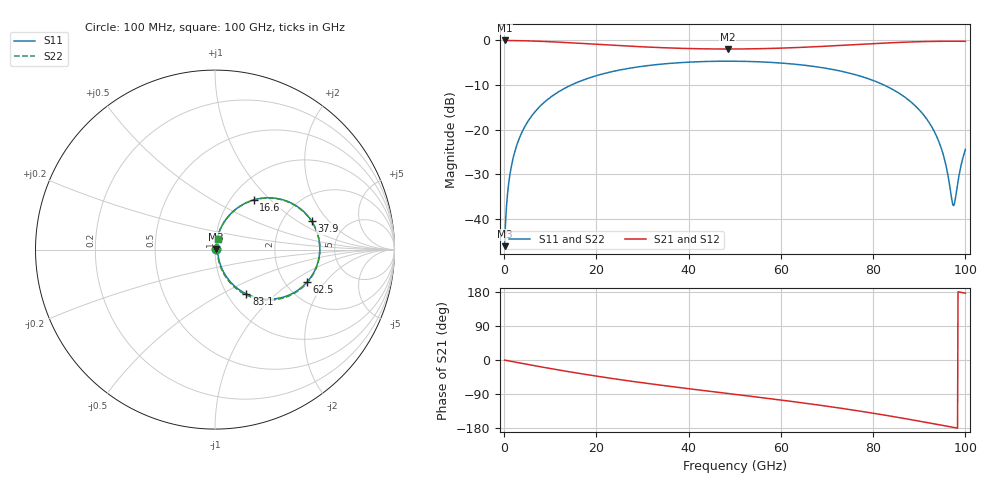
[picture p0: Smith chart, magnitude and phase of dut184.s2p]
! Touchstone file exported from HFSS 2026.1.0
!  File:  C:/ffzhzh/LocalFiles/Ansys_Project_Files/temp_train_RDL_184_1783500433_31944.aedt
!  Generated:  04:48:43 PM Jul  8, 2026
!  Design:  RDL
!  Project:  temp_train_RDL_184_1783500433_31944
! Variables:
!  h_bsmrdl = 2um
!  h_ox = 20um
!  h_rdl = 5um
!  h_sub = 80um
!  h_tmrdl = 3.12um
!  h_tsv = 80um
!  h_via = 3um
!  l_bsmrdl = 300um
!  l_sub = 1016.36um
!  l_tmrdl = 616.36um
!  m_sub = 200um
!  pitch = 41.36um
!  r_tsv = 6um
!  s_tmrdl = 10um
!  w_bsmrdl = 18um
!  w_sub = 500um
!  w_tmrdl = 17.11um
!  x_tsv_center1 = 624.915um
!  x_tsv_center2 = 942.915um
!  x_tsv_center3 = 1576.385um
!  x_tsv_center4 = 1894.385um
!  x_tsv_center5 = 2527.855um
!  x_tsv_center6 = 2845.855um
# GHz S MA R 50.000000
! Terminal data exported
! Port[1] = TM_RDL1_1_T1
! Port[2] = TM_RDL1_1_T2
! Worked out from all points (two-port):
!   1000 points, 100 MHz to 100 GHz, reference 50 ohm
!   highest |S21| = -0.04 dB at 100 MHz (marker M1); lowest = -2.0 dB at 48.5 GHz (marker M2)
!   |S21| within 3 dB of the highest: start of sweep to end of sweep
!   lowest |S11| = -46.0 dB at 100 MHz (marker M3), VSWR 1.01, Z = 50.4 + j0.267 ohm
!   |S11| at or under -10 dB: start of sweep to 14.55 GHz; 82.34 GHz to end of sweep
!   |S22| runs from -46.0 to -4.7 dB; largest |S21 - S12| = 1.8e-14
!   S11 on the Smith chart (normalised r, x): 100 MHz: 1.01, +0.01; 16.6 GHz: 1.27, +0.80; 37.9 GHz: 2.87, +1.34; 62.5 GHz: 2.60, -1.34; 83.1 GHz: 1.22, -0.67; 100 GHz: 1.03, +0.12
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0.1  0.004995 32.0  0.9958 -0.2  0.9958 -0.2  0.004995 32.0
! Gamma 0 0 0 0
! Port Impedance 50 0 50 0
0.9  0.02312 75.2  0.9947 -2.1  0.9947 -2.1  0.02312 75.2
1.5  0.03742 78.3  0.994 -3.5  0.994 -3.5  0.03742 78.3
2.6  0.06379 78.8  0.9922 -6.0  0.9922 -6.0  0.06379 78.8
4.1  0.09941 76.9  0.9886 -9.5  0.9886 -9.5  0.09942 76.8
9  0.209 67.2  0.9687 -20.3  0.9687 -20.3  0.209 67.1
16.6  0.3509 52.1  0.9242 -36.0  0.9242 -36.0  0.3509 51.9
16.8  0.3541 51.7  0.9229 -36.4  0.9229 -36.4  0.3541 51.5
33.4  0.5371 23.3  0.8301 -65.6  0.8301 -65.6  0.5372 23.0
37.9  0.5613 16.5  0.8143 -72.6  0.8143 -72.6  0.5614 16.1
48.5  0.584 1.1  0.7988 -88.4  0.7988 -88.4  0.5841 0.5
50.1  0.5834 -1.2  0.7992 -90.8  0.7992 -90.8  0.5836 -1.8
62.5  0.5434 -19.6  0.8258 -109.6  0.8258 -109.6  0.5435 -20.3
66.7  0.5139 -26.1  0.8435 -116.4  0.8435 -116.4  0.5141 -26.9
83.1  0.3028 -54.8  0.9343 -146.7  0.9343 -146.7  0.3028 -55.8
83.4  0.2974 -55.3  0.9359 -147.3  0.9359 -147.3  0.2974 -56.4
89  0.1877 -65.4  0.9614 -159.1  0.9614 -159.1  0.1877 -66.7
92.9  0.1035 -70.3  0.9725 -167.7  0.9725 -167.7  0.1034 -71.9
95.2  0.05262 -67.5  0.9758 -172.9  0.9758 -172.9  0.05234 -69.8
97.4  0.01421 -0.1  0.9765 -177.8  0.9765 -177.8  0.01302 -1.4
99.2  0.04289 68.7  0.9752 178.2  0.9752 178.2  0.04253 69.1
100  0.06028 72.6  0.9741 176.4  0.9741 176.4  0.06004 72.6
